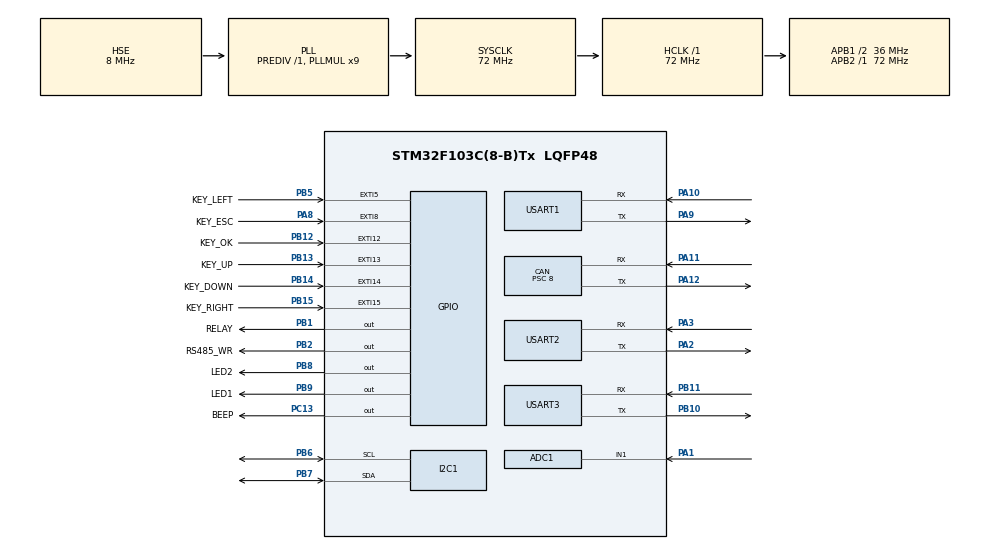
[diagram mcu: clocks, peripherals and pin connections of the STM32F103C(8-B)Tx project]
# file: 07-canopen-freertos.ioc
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ADC1.Channel-0\#ChannelRegularConversion=ADC_CHANNEL_1
ADC1.NbrOfConversionFlag=1
ADC1.Rank-0\#ChannelRegularConversion=1
ADC1.SamplingTime-0\#ChannelRegularConversion=ADC_SAMPLETIME_239CYCLES_5
ADC1.master=1
CAN.BS1=CAN_BS1_6TQ
CAN.BS2=CAN_BS2_2TQ
CAN.CalculateBaudRate=500000
CAN.CalculateTimeBit=2000
CAN.CalculateTimeQuantum=222.22222222222223
CAN.Prescaler=8
Dma.Request0=USART3_RX
Dma.Request1=USART1_RX
Dma.USART1_RX.1.Direction=DMA_PERIPH_TO_MEMORY
Dma.USART1_RX.1.Instance=DMA1_Channel5
Dma.USART1_RX.1.MemDataAlignment=DMA_MDATAALIGN_BYTE
Dma.USART1_RX.1.MemInc=DMA_MINC_ENABLE
Dma.USART1_RX.1.Mode=DMA_CIRCULAR
Dma.USART1_RX.1.PeriphDataAlignment=DMA_PDATAALIGN_BYTE
Dma.USART1_RX.1.PeriphInc=DMA_PINC_DISABLE
Dma.USART1_RX.1.Priority=DMA_PRIORITY_HIGH
Dma.USART3_RX.0.Direction=DMA_PERIPH_TO_MEMORY
Dma.USART3_RX.0.Instance=DMA1_Channel3
Dma.USART3_RX.0.MemDataAlignment=DMA_MDATAALIGN_BYTE
Dma.USART3_RX.0.MemInc=DMA_MINC_ENABLE
Dma.USART3_RX.0.Mode=DMA_CIRCULAR
Dma.USART3_RX.0.PeriphDataAlignment=DMA_PDATAALIGN_BYTE
Dma.USART3_RX.0.PeriphInc=DMA_PINC_DISABLE
Dma.USART3_RX.0.Priority=DMA_PRIORITY_HIGH
FREERTOS.Tasks01=Modbus,0,128,ModbusTask,Default,NULL,Dynamic,NULL,NULL;MQTT,0,128,MQTTTask,Default,NULL,Dynamic,NULL,NULL;CANopen,0,128,CANopenTask,Default,NULL,Dynamic,NULL,NULL
Mcu.Family=STM32F1
Mcu.Name=STM32F103C(8-B)Tx
Mcu.Package=LQFP48
NVIC.DMA1_Channel3_IRQn=true\:5\:0\:false\:false\:true\:true\:false\:true\:true
NVIC.DMA1_Channel5_IRQn=true\:5\:0\:false\:false\:true\:true\:false\:true\:true
NVIC.EXTI15_10_IRQn=true\:5\:0\:true\:false\:true\:true\:true\:true\:true
NVIC.EXTI9_5_IRQn=true\:5\:0\:true\:false\:true\:true\:true\:true\:true
NVIC.PriorityGroup=NVIC_PRIORITYGROUP_4
NVIC.TIM1_UP_IRQn=true\:15\:0\:false\:false\:true\:false\:true\:true\:true
NVIC.TIM2_IRQn=true\:5\:0\:false\:false\:true\:true\:true\:true\:true
NVIC.TIM3_IRQn=true\:5\:0\:true\:false\:false\:true\:true\:true\:true
NVIC.TIM4_IRQn=true\:5\:0\:false\:false\:true\:true\:true\:true\:true
NVIC.TimeBase=TIM1_UP_IRQn
NVIC.TimeBaseIP=TIM1
NVIC.USART1_IRQn=true\:5\:0\:false\:false\:true\:true\:true\:true\:true
NVIC.USART2_IRQn=true\:5\:0\:false\:false\:false\:true\:true\:true\:true
NVIC.USART3_IRQn=true\:5\:0\:false\:false\:true\:true\:true\:true\:true
NVIC.USB_LP_CAN1_RX0_IRQn=true\:5\:0\:false\:false\:true\:true\:true\:true\:true
PA1.Signal=ADCx_IN1
PA10.Mode=Asynchronous
PA10.Signal=USART1_RX
PA11.Mode=CAN_Activate
PA11.Signal=CAN_RX
PA12.Mode=CAN_Activate
PA12.Signal=CAN_TX
PA13.Mode=Serial_Wire
PA13.Signal=SYS_JTMS-SWDIO
PA14.Mode=Serial_Wire
PA14.Signal=SYS_JTCK-SWCLK
PA2.Mode=Asynchronous
PA2.Signal=USART2_TX
PA3.Mode=Asynchronous
PA3.Signal=USART2_RX
PA8.GPIO_Label=KEY_ESC
PA8.GPIO_ModeDefaultEXTI=GPIO_MODE_IT_FALLING
PA8.GPIO_PuPd=GPIO_PULLUP
PA8.Signal=GPXTI8
PA9.Mode=Asynchronous
PA9.Signal=USART1_TX
PB1.GPIO_Label=RELAY
PB1.Signal=GPIO_Output
PB10.Mode=Asynchronous
PB10.Signal=USART3_TX
PB11.Mode=Asynchronous
PB11.Signal=USART3_RX
PB12.GPIO_Label=KEY_OK
PB12.GPIO_ModeDefaultEXTI=GPIO_MODE_IT_FALLING
PB12.GPIO_PuPd=GPIO_PULLUP
PB12.Signal=GPXTI12
PB13.GPIO_Label=KEY_UP
PB13.GPIO_ModeDefaultEXTI=GPIO_MODE_IT_FALLING
PB13.GPIO_PuPd=GPIO_PULLUP
PB13.Signal=GPXTI13
PB14.GPIO_Label=KEY_DOWN
PB14.GPIO_ModeDefaultEXTI=GPIO_MODE_IT_FALLING
PB14.GPIO_PuPd=GPIO_PULLUP
PB14.Signal=GPXTI14
PB15.GPIO_Label=KEY_RIGHT
PB15.GPIO_ModeDefaultEXTI=GPIO_MODE_IT_FALLING
PB15.GPIO_PuPd=GPIO_PULLUP
PB15.Signal=GPXTI15
PB2.GPIO_Label=RS485_WR
PB2.GPIO_Speed=GPIO_SPEED_FREQ_HIGH
PB2.Signal=GPIO_Output
PB5.GPIO_Label=KEY_LEFT
PB5.GPIO_ModeDefaultEXTI=GPIO_MODE_IT_FALLING
PB5.GPIO_PuPd=GPIO_PULLUP
PB5.Signal=GPXTI5
PB6.Mode=I2C
PB6.Signal=I2C1_SCL
PB7.Mode=I2C
PB7.Signal=I2C1_SDA
PB8.GPIO_Label=LED2
PB8.PinState=GPIO_PIN_SET
PB8.Signal=GPIO_Output
PB9.GPIO_Label=LED1
PB9.PinState=GPIO_PIN_SET
PB9.Signal=GPIO_Output
PC13-TAMPER-RTC.GPIO_Label=BEEP
PC13-TAMPER-RTC.Signal=GPIO_Output
PC14-OSC32_IN.Mode=LSE-External-Oscillator
PC14-OSC32_IN.Signal=RCC_OSC32_IN
PC15-OSC32_OUT.Mode=LSE-External-Oscillator
PC15-OSC32_OUT.Signal=RCC_OSC32_OUT
PD0-OSC_IN.Mode=HSE-External-Oscillator
PD0-OSC_IN.Signal=RCC_OSC_IN
PD1-OSC_OUT.Mode=HSE-External-Oscillator
PD1-OSC_OUT.Signal=RCC_OSC_OUT
ProjectManager.HeapSize=0x200
ProjectManager.StackSize=0x400
ProjectManager.TargetToolchain=MDK-ARM V5.32
RCC.ADCPresc=RCC_ADCPCLK2_DIV6
RCC.AHBFreq_Value=72000000
RCC.APB1CLKDivider=RCC_HCLK_DIV2
RCC.APB1Freq_Value=36000000
RCC.APB1TimFreq_Value=72000000
RCC.APB2Freq_Value=72000000
RCC.APB2TimFreq_Value=72000000
RCC.HCLKFreq_Value=72000000
RCC.PLLMUL=RCC_PLL_MUL9
RCC.PLLSourceVirtual=RCC_PLLSOURCE_HSE
RCC.RTCClockSelection=RCC_RTCCLKSOURCE_LSE
RCC.SYSCLKFreq_VALUE=72000000
RCC.SYSCLKSource=RCC_SYSCLKSOURCE_PLLCLK
RCC.USBFreq_Value=72000000
SH.ADCx_IN1.0=ADC1_IN1,IN1
TIM2.AutoReloadPreload=TIM_AUTORELOAD_PRELOAD_ENABLE
TIM2.Period=0x2000
TIM2.Prescaler=72-1
TIM3.AutoReloadPreload=TIM_AUTORELOAD_PRELOAD_DISABLE
TIM3.Period=100
TIM3.Prescaler=3599
TIM4.AutoReloadPreload=TIM_AUTORELOAD_PRELOAD_DISABLE
TIM4.Period=100
TIM4.Prescaler=7200-1
USART1.VirtualMode=VM_ASYNC
USART2.VirtualMode=VM_ASYNC
USART3.VirtualMode=VM_ASYNC
VP_FREERTOS_VS_CMSIS_V1.Mode=CMSIS_V1
VP_SYS_VS_tim1.Mode=TIM1
VP_TIM2_VS_ClockSourceINT.Mode=Internal
VP_TIM3_VS_ClockSourceINT.Mode=Internal
VP_TIM4_VS_ClockSourceINT.Mode=Internal
board=custom

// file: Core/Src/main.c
/* USER CODE BEGIN Header */
/**
  ******************************************************************************
  * @file           : main.c
  * @brief          : Main program body
  ******************************************************************************
  * @attention
  *
  * Copyright (c) 2025 STMicroelectronics.
  * All rights reserved.
  *
  * This software is licensed under terms that can be found in the LICENSE file
  * in the root directory of this software component.
  * If no LICENSE file comes with this software, it is provided AS-IS.
  *
  ******************************************************************************
  */
/* USER CODE END Header */
#include "main.h"
#include "cmsis_os.h"
#include "adc.h"
#include "can.h"
#include "dma.h"
#include "i2c.h"
#include "tim.h"
#include "usart.h"
#include "gpio.h"

/* USER CODE BEGIN Includes */
#include <stdio.h>
#include "oled.h"
#include "aht20.h"
#include "ina226.h"
#include "mb.h"
#include "modbus.h"
#include "wifi4g.h"
#include "mqtt.h"
#include "canfestival.h"
#include "testslave.h"
#include "f1can.h"
/* USER CODE END Includes */

void SystemClock_Config(void);
void MX_FREERTOS_Init(void);

int main(void)
{

  /* MCU Configuration--------------------------------------------------------*/

  /* Reset of all peripherals, Initializes the Flash interface and the Systick. */
  HAL_Init();

  /* Configure the system clock */
  SystemClock_Config();

  /* Initialize all configured peripherals */
  MX_GPIO_Init();
  MX_DMA_Init();
  MX_USART1_UART_Init();
  MX_USART2_UART_Init();
  MX_USART3_UART_Init();
  MX_I2C1_Init();
  MX_ADC1_Init();
  MX_TIM2_Init();
  MX_TIM3_Init();
  MX_TIM4_Init();
  MX_CAN_Init();
  /* USER CODE BEGIN 2 */
	HAL_Delay(400); // 这里延时是给esp8266 打印日志使用的
	// 经过测试 , 400ms时, 日志输出就没有了, 为了安全,我们设置400ms 以上的延时
	// 等待esp8266 输出初始化日志, 要不然一旦开启uart3就会触发dma中断,早期的esp8266初始化的数据波特率不是
	// 115200, 会造成uart3的错误,要在uart3中做错误恢复

	printf("Uart1 init is ok\n");
	printf("CANopen Test\n");
	//EEPROM_Test();
	OLED_Init();
	OLED_CLS(); // 清除屏幕显示
	OLED_ShowStr(0,0, (unsigned char*)"CANopen Control", 2);
	AHT20_Init();
	INA226_Init();

	__HAL_UART_ENABLE_IT(&huart1, UART_IT_IDLE); //使能串UART1 IDLE(空闲)中断
	HAL_UART_Receive_DMA(&huart1, RX1_Buf, DMA_BUF_SIZE); //设置DMA传输，将uart1的数据搬运到RX1_Buf中

	__HAL_UART_ENABLE_IT(&huart3, UART_IT_IDLE); //使能串UART3 IDLE(空闲)中断
	HAL_UART_Receive_DMA(&huart3, RX3_Buf, DMA_BUF_SIZE); //设置DMA传输，将uart3的数据搬运到RX3_Buf中

  /* USER CODE END 2 */

  /* Call init function for freertos objects (in cmsis_os2.c) */
  MX_FREERTOS_Init();

  /* Start scheduler */
  osKernelStart();

  /* We should never get here as control is now taken by the scheduler */

  /* Infinite loop */
  while (1)
  {

  }
}

void SystemClock_Config(void)
{
  RCC_OscInitTypeDef RCC_OscInitStruct = {0};
  RCC_ClkInitTypeDef RCC_ClkInitStruct = {0};
  RCC_PeriphCLKInitTypeDef PeriphClkInit = {0};

  /** Initializes the RCC Oscillators according to the specified parameters
  * in the RCC_OscInitTypeDef structure.
  */
  RCC_OscInitStruct.OscillatorType = RCC_OSCILLATORTYPE_HSE;
  RCC_OscInitStruct.HSEState = RCC_HSE_ON;
  RCC_OscInitStruct.HSEPredivValue = RCC_HSE_PREDIV_DIV1;
  RCC_OscInitStruct.HSIState = RCC_HSI_ON;
  RCC_OscInitStruct.PLL.PLLState = RCC_PLL_ON;
  RCC_OscInitStruct.PLL.PLLSource = RCC_PLLSOURCE_HSE;
  RCC_OscInitStruct.PLL.PLLMUL = RCC_PLL_MUL9;
  if (HAL_RCC_OscConfig(&RCC_OscInitStruct) != HAL_OK)
  {
    Error_Handler();
  }

  /** Initializes the CPU, AHB and APB buses clocks
  */
  RCC_ClkInitStruct.ClockType = RCC_CLOCKTYPE_HCLK|RCC_CLOCKTYPE_SYSCLK
                              |RCC_CLOCKTYPE_PCLK1|RCC_CLOCKTYPE_PCLK2;
  RCC_ClkInitStruct.SYSCLKSource = RCC_SYSCLKSOURCE_PLLCLK;
  RCC_ClkInitStruct.AHBCLKDivider = RCC_SYSCLK_DIV1;
  RCC_ClkInitStruct.APB1CLKDivider = RCC_HCLK_DIV2;
  RCC_ClkInitStruct.APB2CLKDivider = RCC_HCLK_DIV1;

  if (HAL_RCC_ClockConfig(&RCC_ClkInitStruct, FLASH_LATENCY_2) != HAL_OK)
  {
    Error_Handler();
  }
  PeriphClkInit.PeriphClockSelection = RCC_PERIPHCLK_ADC;
  PeriphClkInit.AdcClockSelection = RCC_ADCPCLK2_DIV6;
  if (HAL_RCCEx_PeriphCLKConfig(&PeriphClkInit) != HAL_OK)
  {
    Error_Handler();
  }
}

void HAL_TIM_PeriodElapsedCallback(TIM_HandleTypeDef *htim)
{
  /* USER CODE BEGIN Callback 0 */
	static uint32_t Count500ms = 0  ;
  /* USER CODE END Callback 0 */
  if (htim->Instance == TIM1)
  {
    HAL_IncTick();
  }
  /* USER CODE BEGIN Callback 1 */
	// 定时1ms, 产生中断
	if(htim->Instance == TIM1)
	{
			Count500ms++ ;
			if(Count500ms >= 500 )
			{
					Count500ms = 0 ;
					TIM1_Timeout_Flag = 1;
			}
	}

	// 定时10ms, 产生中断
	else if(htim->Instance == TIM4)
	{
		// 关闭定时器  ， 开始处理接收的数据
		HAL_TIM_Base_Stop(&htim4); // 关闭定时器4中断
		WIFI4G_CMD_Status =  WIFI4G_Parse_Queue(&QUART3) ;
	}
  /* USER CODE END Callback 1 */
}

void Error_Handler(void)
{
  __disable_irq();
  while (1)
  {
  }
}

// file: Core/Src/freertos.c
/* USER CODE BEGIN Header */
/**
  ******************************************************************************
  * File Name          : freertos.c
  * Description        : Code for freertos applications
  ******************************************************************************
  * @attention
  *
  * Copyright (c) 2025 STMicroelectronics.
  * All rights reserved.
  *
  * This software is licensed under terms that can be found in the LICENSE file
  * in the root directory of this software component.
  * If no LICENSE file comes with this software, it is provided AS-IS.
  *
  ******************************************************************************
  */
/* USER CODE END Header */

#include "FreeRTOS.h"
#include "task.h"
#include "main.h"
#include "cmsis_os.h"

/* USER CODE BEGIN Includes */
#include "modbus.h"
#include "mb.h"
#include "mqtt.h"
#include "canfestival.h"
#include "testslave.h"
#include "f1can.h"
#include "tim.h"
/* USER CODE END Includes */

osThreadId ModbusHandle;
osThreadId MQTTHandle;
osThreadId CANopenHandle;

void ModbusTask(void const * argument);
void MQTTTask(void const * argument);
void CANopenTask(void const * argument);

void MX_FREERTOS_Init(void); /* (MISRA C 2004 rule 8.1) */

/* GetIdleTaskMemory prototype (linked to static allocation support) */
void vApplicationGetIdleTaskMemory( StaticTask_t **ppxIdleTaskTCBBuffer, StackType_t **ppxIdleTaskStackBuffer, uint32_t *pulIdleTaskStackSize );

/* USER CODE BEGIN GET_IDLE_TASK_MEMORY */
static StaticTask_t xIdleTaskTCBBuffer;
static StackType_t xIdleStack[configMINIMAL_STACK_SIZE];

void vApplicationGetIdleTaskMemory( StaticTask_t **ppxIdleTaskTCBBuffer, StackType_t **ppxIdleTaskStackBuffer, uint32_t *pulIdleTaskStackSize )
{
  *ppxIdleTaskTCBBuffer = &xIdleTaskTCBBuffer;
  *ppxIdleTaskStackBuffer = &xIdleStack[0];
  *pulIdleTaskStackSize = configMINIMAL_STACK_SIZE;
  /* place for user code */
}
/* USER CODE END GET_IDLE_TASK_MEMORY */

void MX_FREERTOS_Init(void) {

  /* Create the thread(s) */
  /* definition and creation of Modbus */
  osThreadDef(Modbus, ModbusTask, osPriorityNormal, 0, 128);
  ModbusHandle = osThreadCreate(osThread(Modbus), NULL);

  /* definition and creation of MQTT */
  osThreadDef(MQTT, MQTTTask, osPriorityNormal, 0, 128);
  MQTTHandle = osThreadCreate(osThread(MQTT), NULL);

  /* definition and creation of CANopen */
  osThreadDef(CANopen, CANopenTask, osPriorityNormal, 0, 128);
  CANopenHandle = osThreadCreate(osThread(CANopen), NULL);

}

void ModbusTask(void const * argument)
{
  /* USER CODE BEGIN ModbusTask */
	Modbus_Init();
  /* Infinite loop */
  for(;;)
  {
		eMBPoll();// 轮训查询
		Modbus_Parse();
    osDelay(10);
  }
  /* USER CODE END ModbusTask */
}

void MQTTTask(void const * argument)
{
  /* USER CODE BEGIN MQTTTask */
	MQTT_Connect_Server();
  /* Infinite loop */
  for(;;)
  {

		MQTT_SendData();
    osDelay(5000);
  }
  /* USER CODE END MQTTTask */
}

void CANopenTask(void const * argument)
{
  /* USER CODE BEGIN CANopenTask */
	HAL_TIM_Base_Start_IT(&htim2); // 使能定时器2中断
	CanFestival_Can_Init();	//初始化can过滤器
	setNodeId(&TestSlave_Data, SlaveAddress);
	setState(&TestSlave_Data, Initialisation);
	setState(&TestSlave_Data, Operational);
  /* Infinite loop */
  for(;;)
  {
    osDelay(1000);
  }
  /* USER CODE END CANopenTask */
}
